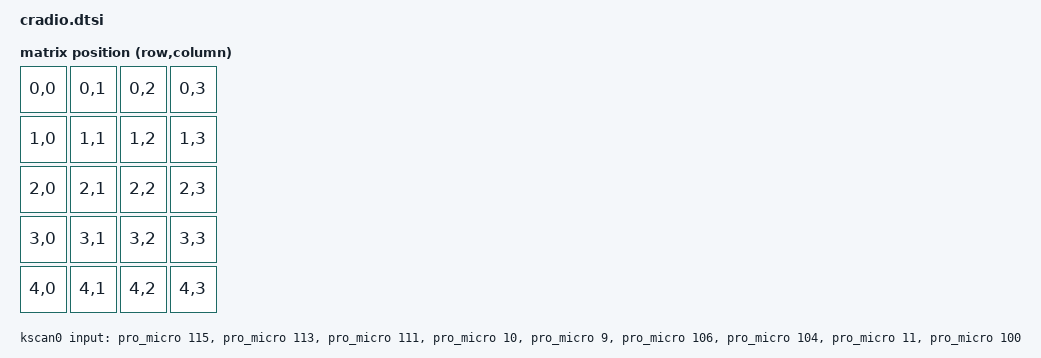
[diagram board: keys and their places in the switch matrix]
/*
 * GPIO mapping fixed based on user-provided pinout
 * Rows (diode direction): 009 106 104 011 100
 * Columns (switch): 115 113 111 010
 */

#include <dt-bindings/zmk/matrix_transform.h>
#include <layouts/cuddlykeyboards/ferris.dtsi>

&cuddlykeyboards_ferris_layout {
    transform = <&default_transform>;
};

 / {
    chosen {
        zmk,kscan = &kscan0;
    };

    /* matrix: 5 rows × 4 columns = 20 keys */
    default_transform: keymap_transform_0 {
        compatible = "zmk,matrix-transform";
        columns = <4>;
        rows = <5>;

        /* RC(row, col) */
        map = <
            RC(0,0) RC(0,1) RC(0,2) RC(0,3)
            RC(1,0) RC(1,1) RC(1,2) RC(1,3)
            RC(2,0) RC(2,1) RC(2,2) RC(2,3)
            RC(3,0) RC(3,1) RC(3,2) RC(3,3)
            RC(4,0) RC(4,1) RC(4,2) RC(4,3)
        >;
    };

        kscan0: kscan {
        compatible = "zmk,kscan-gpio-direct";
        wakeup-source;

        input-gpios =
            /* ROWS – diode nằm theo chiều dọc, nối bên trái */
              <&pro_micro 115 (GPIO_ACTIVE_LOW | GPIO_PULL_UP)>
            , <&pro_micro 113 (GPIO_ACTIVE_LOW | GPIO_PULL_UP)>
            , <&pro_micro 111 (GPIO_ACTIVE_LOW | GPIO_PULL_UP)>
            , <&pro_micro  10 (GPIO_ACTIVE_LOW | GPIO_PULL_UP)>

            /* COLUMNS – từ trái sang phải */
            , <&pro_micro   9 (GPIO_ACTIVE_LOW | GPIO_PULL_UP)>
            , <&pro_micro 106 (GPIO_ACTIVE_LOW | GPIO_PULL_UP)>
            , <&pro_micro 104 (GPIO_ACTIVE_LOW | GPIO_PULL_UP)>
            , <&pro_micro  11 (GPIO_ACTIVE_LOW | GPIO_PULL_UP)>
            , <&pro_micro 100 (GPIO_ACTIVE_LOW | GPIO_PULL_UP)>
            ;
    };
};

